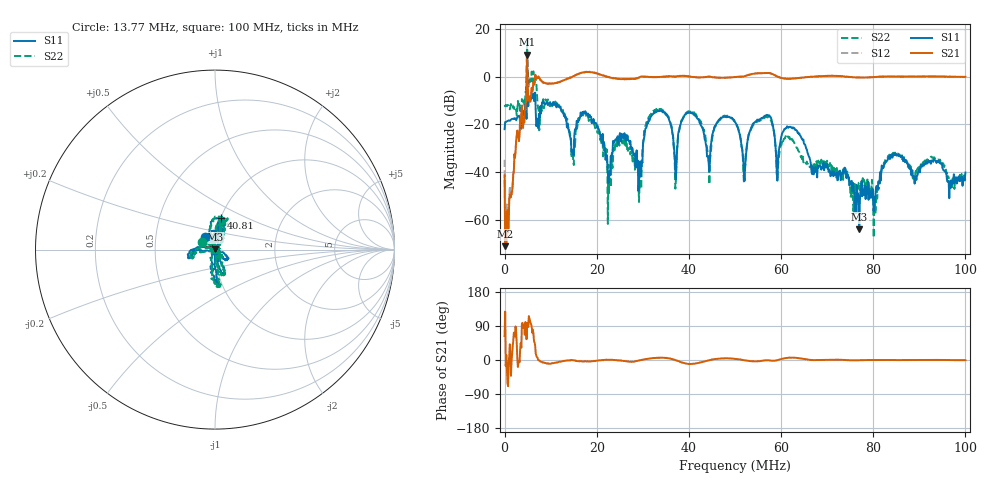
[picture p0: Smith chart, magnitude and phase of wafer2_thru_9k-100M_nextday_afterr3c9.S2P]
!  2-Port S-parameters saved by WinCal
! VAR MeasName=S-Parameters (CALIBRATED_DATA) read from VNA (P5004A)
! VAR MeasDate=28/08/2024 09:53:16
! VAR NAME=S2_thru_9k-100M_nextday
! VAR FILENAME=S2_thru_9k-100M_nextday.S2P
! VAR DATE=28/08/2024 09:53:16
! VAR PHYS_PORTS=1,2
! VAR ObjTypeName=DATASET
! VAR IndexType=Frequency
# Hz S MA R 50
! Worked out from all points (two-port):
!   800 points, 9 kHz to 100 MHz, reference 50 ohm
!   highest |S21| = 9.20 dB at 4.89 MHz (marker M1); lowest = -71.0 dB at 134.1 kHz (marker M2)
!   |S21| within 3 dB of the highest: 4.861 MHz to 4.923 MHz (62.61 kHz wide, 1.28 % of centre)
!   lowest |S11| = -64.0 dB at 76.97 MHz (marker M3), VSWR 1.00, Z = 50 + j0.0611 ohm
!   |S11| at or under -10 dB: start of sweep to 4.812 MHz; 5.042 MHz to 5.24 MHz (198.9 kHz wide, 3.87 % of centre); 6.692 MHz to end of sweep (the widest 3 of 4)
!   |S22| runs from -67.5 to 15.1 dB; largest |S21 - S12| = 2.4
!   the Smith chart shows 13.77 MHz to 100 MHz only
!   S11 on the Smith chart (normalised r, x): 13.77 MHz: 0.88, +0.13; 40.81 MHz: 1.01, +0.36; 100 MHz: 0.99, -0.02
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9000  0.07889 -164.5  0.008478 63.2  0.01806 -148.8  0.251 -142.8
134145.2  0.1119 169.7  0.0002807 128.0  0.0003043 80.5  0.2383 -171.6
3763355  0.1506 121.9  0.2485 96.0  0.2383 18.3  0.3372 119.1
4889662  1.35 61.9  2.883 98.0  2.913 49.4  5.695 98.8
7142275  0.1317 74.2  0.9189 6.1  0.912 2.3  0.2854 28.1
1.377497e7  0.09051 128.4  0.9108 -1.2  0.9098 1.1  0.08285 147.9
1.677845e7  0.1598 73.5  1.203 -3.7  1.214 -3.0  0.16 75.3
2.291057e7  0.01023 59.8  0.9529 0.3  0.9581 1.5  0.008572 14.1
2.503804e7  0.06545 -64.3  0.8869 -1.2  0.893 -1.0  0.05234 -55.0
2.916783e7  0.006042 -45.5  0.9463 -1.2  0.9431 -1.4  0.002367 88.0
3.342276e7  0.1882 -86.3  0.9799 6.0  0.9772 6.1  0.2045 -85.0
3.705197e7  0.009356 -66.2  0.9889 -0.2  0.995 -0.2  0.004499 -28.8
4.080633e7  0.178 78.8  0.9829 -10.3  0.9849 -9.9  0.1789 78.4
4.431039e7  0.01448 -0.5  0.991 -0.9  0.9942 -0.5  0.01845 17.4
5.006707e7  0.1088 -76.9  0.9764 3.0  0.9767 3.2  0.1105 -79.4
5.194425e7  0.008592 -28.5  1.002 -0.5  0.9995 -0.5  0.005836 -84.7
5.695006e7  0.1576 -163.3  1.191 -0.5  1.187 -0.7  0.1428 -161.3
6.671138e7  0.009095 -5.8  0.9919 -0.1  0.9938 -0.1  0.01295 -21.4
7.697329e7  0.0006332 74.6  0.9546 -0.6  0.9553 -0.5  0.00609 -149.1
8.047735e7  0.003415 -8.3  0.9778 -0.0  0.98 -0.2  0.001349 123.3
8.335569e7  0.0197 20.4  1.002 0.0  1.003 0.0  0.02121 11.7
1e8  0.009761 -128.7  0.9847 -0.4  0.9827 -0.4  0.007097 -136.0
